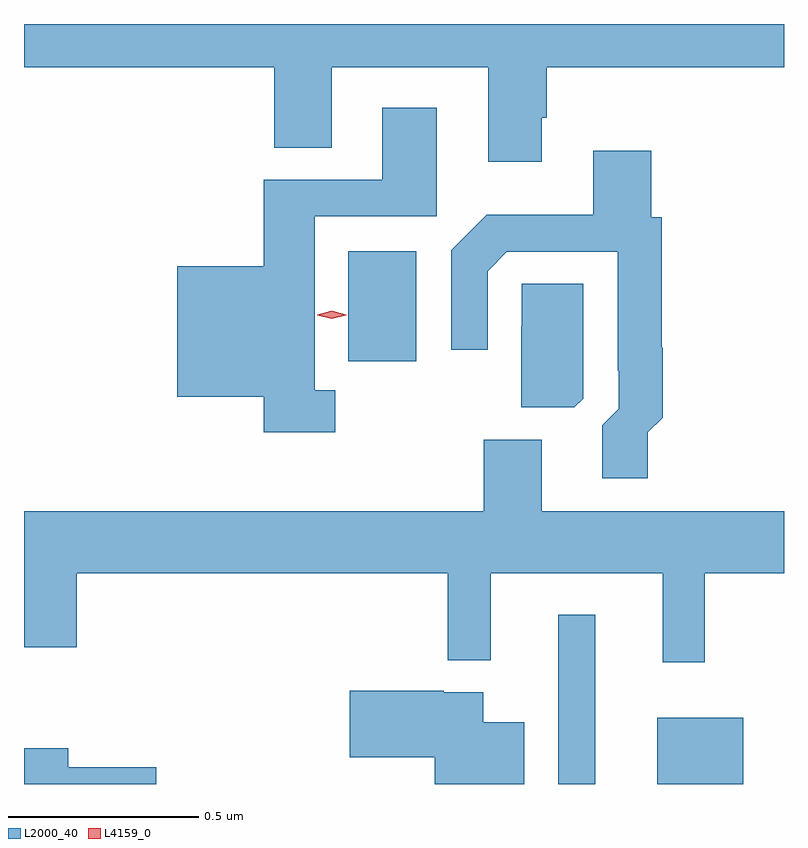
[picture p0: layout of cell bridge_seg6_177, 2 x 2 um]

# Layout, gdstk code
import gdstk
lib = gdstk.Library(unit=1e-6, precision=1e-09)
def R(c, l, rs):  # rectangles x0, y0, x1, y1
    for r in rs: c.add(gdstk.rectangle(r[:2], r[2:], *l))
def P(c, l, *ps):  # polygons
    for p in ps: c.add(gdstk.Polygon(p, *l))
L2000_40 = (2000, 40)
L4159_0 = (4159, 0)

bridge_seg6_177 = lib.new_cell('bridge_seg6_177')
R(bridge_seg6_177, L2000_40, [(216.297,976.086,216.394,976.531), (216.557,976.086,216.784,976.261), (215.744,977.198,215.923,977.488)])
P(bridge_seg6_177, L2000_40, [(216.253,977.839),(216.266,977.839),(216.266,977.972),(216.891,977.972),(216.891,978.086),(214.891,978.086),(214.891,977.972),(215.549,977.972),(215.549,977.761),(215.701,977.761),(215.701,977.972),(216.113,977.972),(216.113,977.724),(216.253,977.724)],
  [(215.71,977.122),(215.656,977.122),(215.656,977.58),(215.977,977.58),(215.977,977.866),(215.834,977.866),(215.834,977.676),(215.522,977.676),(215.522,977.449),(215.294,977.449),(215.294,977.105),(215.522,977.105),(215.522,977.012),(215.71,977.012)],
  [(216.533,977.012),(216.572,977.05),(216.572,977.234),(216.569,977.234),(216.569,977.577),(216.542,977.577),(216.542,977.752),(216.389,977.752),(216.389,977.584),(216.109,977.584),(216.015,977.49),(216.015,977.229),(216.111,977.229),(216.111,977.436),(216.162,977.487),(216.453,977.487),(216.453,977.173),(216.456,977.173),(216.456,977.073),(216.413,977.03),(216.413,976.89),(216.533,976.89)],
  [(216.363,977.1),(216.363,977.402),(216.201,977.402),(216.201,977.291),(216.2,977.291),(216.2,977.077),(216.339,977.077)],
  [(216.682,976.64),(216.891,976.64),(216.891,976.804),(216.253,976.804),(216.253,976.992),(216.101,976.992),(216.101,976.804),(214.891,976.804),(214.891,976.446),(215.03,976.446),(215.03,976.64),(216.006,976.64),(216.006,976.412),(216.119,976.412),(216.119,976.64),(216.572,976.64),(216.572,976.407),(216.682,976.407)],
  [(216.208,976.249),(216.1,976.249),(216.1,976.327),(215.996,976.327),(215.996,976.332),(215.748,976.332),(215.748,976.157),(215.972,976.157),(215.972,976.086),(216.208,976.086)],
  [(215.239,976.13),(215.008,976.13),(215.008,976.18),(214.891,976.18),(214.891,976.086),(215.239,976.086)])
P(bridge_seg6_177, L4159_0, [(215.701,977.311),(215.663,977.32),(215.663,977.321),(215.663,977.321),(215.701,977.331),(215.739,977.321),(215.739,977.321),(215.739,977.32)])

lib.write_gds('bridge_seg6_177.gds')
